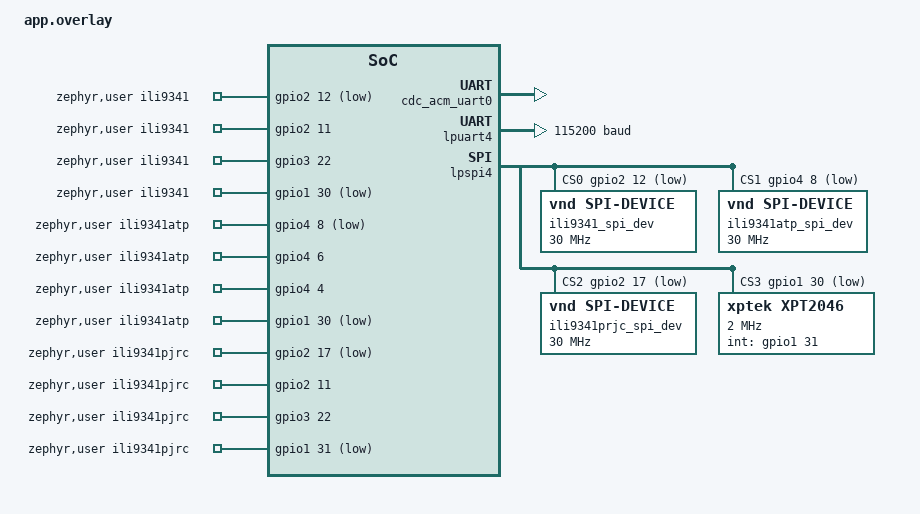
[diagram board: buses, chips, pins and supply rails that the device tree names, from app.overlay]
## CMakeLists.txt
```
cmake_minimum_required(VERSION 3.20.0)
find_package(Zephyr REQUIRED HINTS $ENV{ZEPHYR_BASE})
project(ili9341_touch)

#include(../common/common.cmake)
FILE(GLOB app_sources src/*.cpp  app_sources src/*.c app_sources ../common/src/*.cpp ../ILI9341_library/src/*.cpp ../ILI9341_library/src/*.c)
target_include_directories(app PRIVATE ../common/include ../ILI9341_library/include)
target_sources(app PRIVATE ${app_sources})
```

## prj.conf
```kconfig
#CONFIG_STDOUT_CONSOLE=y
CONFIG_USB_DEVICE_STACK=y
CONFIG_USB_DEVICE_PRODUCT="Teensy Serial"
CONFIG_USB_DEVICE_VID=0x16c0
CONFIG_USB_DEVICE_PID=0x0483
CONFIG_LOG=y
CONFIG_USB_DRIVER_LOG_LEVEL_ERR=y
CONFIG_USB_DEVICE_LOG_LEVEL_ERR=y
CONFIG_SERIAL=y

CONFIG_USB_CDC_ACM=y
CONFIG_USB_CDC_ACM_RINGBUF_SIZE=512
CONFIG_UART_LINE_CTRL=y
CONFIG_CDC_ACM_DTE_RATE_CALLBACK_SUPPORT=y


CONFIG_UART_INTERRUPT_DRIVEN=y
CONFIG_USB_DEVICE_INITIALIZE_AT_BOOT=n
CONFIG_GPIO=y
CONFIG_SPI=y
CONFIG_SPI_ASYNC=y
CONFIG_POLL=y
CONFIG_STATIC_INIT_GNU=y

# Enable uart driver
CONFIG_SERIAL=y

# Console
CONFIG_CONSOLE=y
CONFIG_UART_CONSOLE=y
CONFIG_USB_CDC_ACM_LOG_LEVEL_DBG=n
#CONFIG_USB_DEVICE_STACK_NEXT=y
#CONFIG_SPI_LOG_LEVEL_DBG=y

# INPUT
CONFIG_INPUT=y
#CONFIG_XPT2046_LOG_LEVEL_DBG=y
```

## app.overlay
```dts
/*
 * Copyright (c) 2021 Nordic Semiconductor ASA
 *
 * SPDX-License-Identifier: Apache-2.0
 */

&zephyr_udc0 {
	cdc_acm_uart0 {
		compatible = "zephyr,cdc-acm-uart";
		label = "Zephyr USB CDC-ACM";
	};
};

/ {
	aliases {
	};
	zephyr,user {
		ili9341-gpios = <&gpio2 12 GPIO_ACTIVE_LOW>,	/* CS PIN 32 mmod */
						<&gpio2 11 GPIO_ACTIVE_HIGH>,	/* DC PIN 9 mmod */
						<&gpio3 22 GPIO_ACTIVE_HIGH>,	/* RST Pin 31 */
						<&gpio1 30 GPIO_ACTIVE_LOW>;	/* touch cs Pin 26 */

		/* ATP with our Teensy adapter*/
		ili9341atp-gpios = <&gpio4 8 GPIO_ACTIVE_LOW>,	/* CS PIN 5 mmod */
						<&gpio4 6 GPIO_ACTIVE_HIGH>,	/* DC PIN 4 mmod */
						<&gpio4 4 GPIO_ACTIVE_HIGH>,	/* RST Pin 2 */
						<&gpio1 30 GPIO_ACTIVE_LOW>;	/* touch cs Pin 26 */
            
    /* PJRC Teensy ATP Board  */
		ili9341pjrc-gpios = <&gpio2 17 GPIO_ACTIVE_LOW>,	/* CS PIN 10 mmod */
						<&gpio2 11 GPIO_ACTIVE_HIGH>,	/* DC PIN 9 mmod */
						<&gpio3 22 GPIO_ACTIVE_HIGH>,	/* RST Pin 31 */
						<&gpio1 31 GPIO_ACTIVE_LOW>;	/* touch cs Pin 27 */



	};
	
	chosen {
		//uart,passthrough = &lpuart4; // Teensy pins 7(RX) 8(TX)
		//spi,ili9341 = &lpspi4;
		zephyr,touch = &xpt2046;


	};
};

&lpuart4 {
	current-speed = <115200>;
	status = "okay";
};

&pinctrl {

	/* LPSPI4 MISO, MOSI, SCK, CS on Teensy-Pins 12/11/13/10 */
	pinmux_lpspi4: pinmux_lpspi4 {
		group0 {
			pinmux = <&iomuxc_gpio_b0_03_lpspi4_sck>,
				<&iomuxc_gpio_b0_01_lpspi4_sdi>,
				<&iomuxc_gpio_b0_02_lpspi4_sdo>;
			drive-strength = "r0-6";
			slew-rate = "fast";
			nxp,speed = "100-mhz";
		};
	};
};

&lpspi4 {
	transfer-delay = <50>;
	status = "okay";	
	pinctrl-0 = <&pinmux_lpspi4>;
	pcs-sck-delay= <25>;
	sck-pcs-delay= <25>;
	pinctrl-names = "default";

	cs-gpios = <&gpio2 12 GPIO_ACTIVE_LOW>,  <&gpio4 8 GPIO_ACTIVE_LOW>,  <&gpio2 17 GPIO_ACTIVE_LOW>, <&gpio1 30 GPIO_ACTIVE_LOW>;
  
	ili9341_spi_dev: ili9341_spi_dev@0 {
		compatible = "vnd,spi-device";
		reg = <0>;
		spi-max-frequency = <30000000>;
	};

	ili9341atp_spi_dev: ili9341atp_spi_dev@1 {
		compatible = "vnd,spi-device";
		reg = <1>;
		spi-max-frequency = <30000000>;
	};

	ili9341prjc_spi_dev: ili9341pjrc_spi_dev@2 {
		compatible = "vnd,spi-device";
		reg = <2>;
		spi-max-frequency = <30000000>;
	};

	/* 26 is CS 27 is Interrupt */
	xpt2046: xpt2046@2 {
		compatible = "xptek,xpt2046";
		reg = <3>;
		int-gpios = <&gpio1 31 GPIO_ACTIVE_HIGH>; 
		touchscreen-size-x = <1000>;
		touchscreen-size-y = <1000>;
		min-x = <0>;
		min-y = <0>;
		max-x = <4000>;
		max-y = <4000>;
		spi-max-frequency = <2000000>;
		status = "okay";
	};
};
```

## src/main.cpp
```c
/*
 * Copyright (c) 2019 Intel Corporation
 *
 * SPDX-License-Identifier: Apache-2.0
 */

/**
 * @file
 * @brief Sample echo app for CDC ACM class
 *
 * Sample app for USB CDC ACM class driver. The received data is echoed back
 * to the serial port.
 */

//#include <sample_usbd.h>

#include <stdio.h>
#include <string.h>
#include <zephyr/device.h>
#include <zephyr/drivers/uart.h>
#include <zephyr/kernel.h>
#include <zephyr/sys/ring_buffer.h>

#include <zephyr/usb/usb_device.h>
#include <zephyr/usb/usbd.h>
#include <zephyr/logging/log.h>
#include <zephyr/drivers/gpio.h>
#include <zephyr/input/input.h>

LOG_MODULE_REGISTER(main, LOG_LEVEL_INF);
#include "USBSerialDevice.h"

#include "UARTDevice.h"
#include "ILI9341_GIGA_zephyr.h"

#define ATP
//#define PJRC

const struct device *const usb_uart_dev = DEVICE_DT_GET_ONE(zephyr_cdc_acm_uart);
//const struct device *const serial_dev = DEVICE_DT_GET(DT_CHOSEN(uart_passthrough));
//const struct device *const ili9341_spi =  DEVICE_DT_GET(DT_CHOSEN(spi_ili9341));
#define SPI_OP (SPI_WORD_SET(8) | SPI_OP_MODE_MASTER | SPI_TRANSFER_MSB )

#if defined(ATP)
static struct spi_dt_spec ili9341_spi =
	SPI_DT_SPEC_GET(DT_NODELABEL(ili9341atp_spi_dev), SPI_OP, 0);
#elif defined(PJRC)
static struct spi_dt_spec ili9341_spi =
	SPI_DT_SPEC_GET(DT_NODELABEL(ili9341prjc_spi_dev), SPI_OP, 0);
#else
static struct spi_dt_spec ili9341_spi =
	SPI_DT_SPEC_GET(DT_NODELABEL(ili9341_spi_dev), SPI_OP, 0);
#endif


inline int min(int a, int b) {
	return (a <= b)? a : b;
}

inline void delay(uint32_t ms) {
	k_sleep(K_MSEC(ms));
}

// Need to do this.
unsigned long micros(void) {
#ifdef CONFIG_TIMER_HAS_64BIT_CYCLE_COUNTER
  return k_cyc_to_us_floor32(k_cycle_get_64());
#else
  return k_cyc_to_us_floor32(k_cycle_get_32());
#endif
 }

#if defined(ATP)
static const struct gpio_dt_spec ili9341_pins[] = {DT_FOREACH_PROP_ELEM_SEP(
    DT_PATH(zephyr_user), ili9341atp_gpios, GPIO_DT_SPEC_GET_BY_IDX, (, ))};
#elif defined(PJRC)
static const struct gpio_dt_spec ili9341_pins[] = {DT_FOREACH_PROP_ELEM_SEP(
    DT_PATH(zephyr_user), ili9341pjrc_gpios, GPIO_DT_SPEC_GET_BY_IDX, (, ))};
#else
static const struct gpio_dt_spec ili9341_pins[] = {DT_FOREACH_PROP_ELEM_SEP(
    DT_PATH(zephyr_user), ili9341_gpios, GPIO_DT_SPEC_GET_BY_IDX, (, ))};
#endif

ILI9341_GIGA_n tft(&ili9341_spi, &ili9341_pins[0], &ili9341_pins[1], &ili9341_pins[2]);



// Lets define our toutch event.
static const struct device *const touch_dev = DEVICE_DT_GET(DT_CHOSEN(zephyr_touch));

static struct k_sem sync;

static struct {
  size_t x;
  size_t y;
  bool pressed;
} touch_point;


static void touch_event_callback(struct input_event *evt, void *user_data)
{
  //printk("TECB: %u %u %u\n", evt->code, evt->value, evt->sync);
  if (evt->code == INPUT_ABS_X) {
    touch_point.x = evt->value;
  }
  if (evt->code == INPUT_ABS_Y) {
    touch_point.y = evt->value;
  }
  if (evt->code == INPUT_BTN_TOUCH) {
    touch_point.pressed = evt->value;
  }
  if (evt->sync) {
    k_sem_give(&sync);
  }
}
INPUT_CALLBACK_DEFINE(touch_dev, touch_event_callback, NULL);




//=================================================================
// forward references of functions
#define BOXSIZE 40
#define PENRADIUS 3
int oldcolor, currentcolor;


int main(void)
{
	int ret;

	USBSerial.begin();
	//SerialX.begin();
	USBSerial.println("Touch Paint started");

//	USBSerial.print("Print connector pins\n");
//  	for (size_t i = 0; i < ARRAY_SIZE(connector_pins); i++) {
//  		USBSerial.printf("%u %p %u\n", i, connector_pins[i].port, connector_pins[i].pin);
//  	}
  	// Main loop, would be nice if we setup events for the two RX queues, but startof KISS
#if 0
	USBSerial.printf("cs: %p %u %x\n", ili9341_pins[0].port, ili9341_pins[0].pin, ili9341_pins[0].dt_flags);
	USBSerial.printf("dc: %p %u %x\n", ili9341_pins[1].port, ili9341_pins[1].pin, ili9341_pins[1].dt_flags);
	USBSerial.printf("rst: %p %u %x\n",ili9341_pins[2].port, ili9341_pins[2].pin, ili9341_pins[2].dt_flags);
	if (ARRAY_SIZE(ili9341_pins) > 3) {
		USBSerial.printf("touch cs: %p %u %x\n",ili9341_pins[3].port, ili9341_pins[3].pin, ili9341_pins[3].dt_flags);
  		gpio_pin_configure_dt(&ili9341_pins[3], GPIO_OUTPUT_LOW | GPIO_ACTIVE_HIGH);
  		gpio_pin_set_dt(&ili9341_pins[3] , 1);
	}
#endif
	//USBSerial.printf("SPI readdy? %c\n"), spi_is_ready_dt(&ili9341_spi)? 'Y': 'N');
	//USBSerial.printf("SPI readdy? %c\n"), spi_is_ready_dt(&ili9341_spi)? 'Y': 'N');
  // initialize semaphore... used for touch...
  k_sem_init(&sync, 0, 1);


	tft.setDebugUART(&USBSerial);
	tft.begin();
	tft.setRotation(0);

	tft.fillScreen(ILI9341_BLACK);
	k_sleep(K_MSEC(500));
	tft.fillScreen(ILI9341_RED);
	k_sleep(K_MSEC(500));
	tft.fillScreen(ILI9341_GREEN);
	k_sleep(K_MSEC(500));
	tft.fillScreen(ILI9341_BLUE);
	k_sleep(K_MSEC(500));
	tft.fillScreen(ILI9341_WHITE);


  tft.fillScreen(ILI9341_BLACK);
  tft.fillRect(0, 0, BOXSIZE, BOXSIZE, ILI9341_RED);
  tft.fillRect(BOXSIZE, 0, BOXSIZE, BOXSIZE, ILI9341_YELLOW);
  tft.fillRect(BOXSIZE * 2, 0, BOXSIZE, BOXSIZE, ILI9341_GREEN);
  tft.fillRect(BOXSIZE * 3, 0, BOXSIZE, BOXSIZE, ILI9341_CYAN);
  tft.fillRect(BOXSIZE * 4, 0, BOXSIZE, BOXSIZE, ILI9341_BLUE);
  tft.fillRect(BOXSIZE * 5, 0, BOXSIZE, BOXSIZE, ILI9341_MAGENTA);


    for (;;) {
      k_sem_take(&sync, K_FOREVER);
      USBSerial.printf("TOUCH %s X, Y: (%d, %d)\n", touch_point.pressed ? "PRESS" : "RELEASE",
        touch_point.x, touch_point.y);      
  	}
	return 0;
}


void WaitForUserInput() {
    USBSerial.print("Hit key to continue\n");
    while (USBSerial.read() == -1) ;
    while (USBSerial.read() != -1) ;
    USBSerial.print("Done!\n");
}
```
